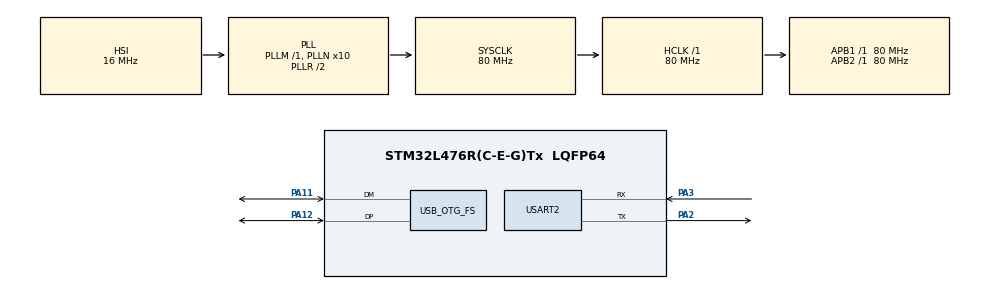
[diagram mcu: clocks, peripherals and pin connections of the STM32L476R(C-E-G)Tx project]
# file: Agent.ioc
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Mcu.Family=STM32L4
Mcu.Name=STM32L476R(C-E-G)Tx
Mcu.Package=LQFP64
NVIC.OTG_FS_IRQn=true\:0\:0\:false\:false\:true\:false
NVIC.PriorityGroup=NVIC_PRIORITYGROUP_4
PA11.Mode=Device_Only
PA11.Signal=USB_OTG_FS_DM
PA12.Mode=Device_Only
PA12.Signal=USB_OTG_FS_DP
PA13\ (JTMS-SWDIO).Mode=Trace_Asynchronous_SW
PA13\ (JTMS-SWDIO).Signal=SYS_JTMS-SWDIO
PA14\ (JTCK-SWCLK).Mode=Trace_Asynchronous_SW
PA14\ (JTCK-SWCLK).Signal=SYS_JTCK-SWCLK
PA2.Mode=Asynchronous
PA2.Signal=USART2_TX
PA3.Mode=Asynchronous
PA3.Signal=USART2_RX
PB3\ (JTDO-TRACESWO).Mode=Trace_Asynchronous_SW
PB3\ (JTDO-TRACESWO).Signal=SYS_JTDO-SWO
PC14-OSC32_IN\ (PC14).Mode=LSE-External-Oscillator
PC14-OSC32_IN\ (PC14).Signal=RCC_OSC32_IN
PC15-OSC32_OUT\ (PC15).Mode=LSE-External-Oscillator
PC15-OSC32_OUT\ (PC15).Signal=RCC_OSC32_OUT
ProjectManager.HeapSize=0x2000
ProjectManager.StackSize=0x2000
ProjectManager.TargetToolchain=TrueSTUDIO
RCC.ADCFreq_Value=64000000
RCC.AHBFreq_Value=80000000
RCC.APB1Freq_Value=80000000
RCC.APB1TimFreq_Value=80000000
RCC.APB2Freq_Value=80000000
RCC.APB2TimFreq_Value=80000000
RCC.CK48CLockSelection=RCC_USBCLKSOURCE_MSI
RCC.CortexFreq_Value=80000000
RCC.HCLKFreq_Value=80000000
RCC.HSE_VALUE=8000000
RCC.HSI_VALUE=16000000
RCC.MSIClockRange=RCC_MSIRANGE_11
RCC.MSI_VALUE=48000000
RCC.PLLN=10
RCC.PLLSourceVirtual=RCC_PLLSOURCE_HSI
RCC.RTCClockSelection=RCC_RTCCLKSOURCE_LSE
RCC.SYSCLKFreq_VALUE=80000000
RCC.SYSCLKSource=RCC_SYSCLKSOURCE_PLLCLK
RCC.USBFreq_Value=48000000
RCC.VCOOutputFreq_Value=160000000
RTC.Format=RTC_FORMAT_BIN
RTC.WeekDay=RTC_WEEKDAY_SATURDAY
USART2.VirtualMode-Asynchronous=VM_ASYNC
USB_DEVICE.CLASS_NAME_FS=CDC
USB_DEVICE.VirtualMode=Cdc
USB_DEVICE.VirtualModeFS=Cdc_FS
USB_OTG_FS.VirtualMode=Device_Only
VP_RNG_VS_RNG.Mode=RNG_Activate
VP_RTC_VS_RTC_Activate.Mode=RTC_Enabled
VP_RTC_VS_RTC_Calendar.Mode=RTC_Calendar
VP_USB_DEVICE_VS_USB_DEVICE_CDC_FS.Mode=CDC_FS
board=custom

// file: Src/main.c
/**
  ******************************************************************************
  * @file           : main.c
  * @brief          : Main program body
  ******************************************************************************
  * This notice applies to any and all portions of this file
  * that are not between comment pairs USER CODE BEGIN and
  * USER CODE END. Other portions of this file, whether
  * inserted by the user or by software development tools
  * are owned by their respective copyright owners.
  *
  * Copyright (c) 2018 STMicroelectronics International N.V.
  * All rights reserved.
  *
  * Redistribution and use in source and binary forms, with or without
  * modification, are permitted, provided that the following conditions are met:
  *
  * 1. Redistribution of source code must retain the above copyright notice,
  *    this list of conditions and the following disclaimer.
  * 2. Redistributions in binary form must reproduce the above copyright notice,
  *    this list of conditions and the following disclaimer in the documentation
  *    and/or other materials provided with the distribution.
  * 3. Neither the name of STMicroelectronics nor the names of other
  *    contributors to this software may be used to endorse or promote products
  *    derived from this software without specific written permission.
  * 4. This software, including modifications and/or derivative works of this
  *    software, must execute solely and exclusively on microcontroller or
  *    microprocessor devices manufactured by or for STMicroelectronics.
  * 5. Redistribution and use of this software other than as permitted under
  *    this license is void and will automatically terminate your rights under
  *    this license.
  *
  * THIS SOFTWARE IS PROVIDED BY STMICROELECTRONICS AND CONTRIBUTORS "AS IS"
  * AND ANY EXPRESS, IMPLIED OR STATUTORY WARRANTIES, INCLUDING, BUT NOT
  * LIMITED TO, THE IMPLIED WARRANTIES OF MERCHANTABILITY, FITNESS FOR A
  * PARTICULAR PURPOSE AND NON-INFRINGEMENT OF THIRD PARTY INTELLECTUAL PROPERTY
  * RIGHTS ARE DISCLAIMED TO THE FULLEST EXTENT PERMITTED BY LAW. IN NO EVENT
  * SHALL STMICROELECTRONICS OR CONTRIBUTORS BE LIABLE FOR ANY DIRECT, INDIRECT,
  * INCIDENTAL, SPECIAL, EXEMPLARY, OR CONSEQUENTIAL DAMAGES (INCLUDING, BUT NOT
  * LIMITED TO, PROCUREMENT OF SUBSTITUTE GOODS OR SERVICES; LOSS OF USE, DATA,
  * OR PROFITS; OR BUSINESS INTERRUPTION) HOWEVER CAUSED AND ON ANY THEORY OF
  * LIABILITY, WHETHER IN CONTRACT, STRICT LIABILITY, OR TORT (INCLUDING
  * NEGLIGENCE OR OTHERWISE) ARISING IN ANY WAY OUT OF THE USE OF THIS SOFTWARE,
  * EVEN IF ADVISED OF THE POSSIBILITY OF SUCH DAMAGE.
  *
  ******************************************************************************
  */
#include "main.h"
#include "stm32l4xx_hal.h"
#include "usb_device.h"

/* USER CODE BEGIN Includes */
#include <time.h>
#include "StmUtil.h"
#include <cyrep/RiotTarget.h>
#include <cyrep/RiotStatus.h>
#include "cyrep/RiotSha256.h"
#include <cyrep/RiotEcc.h>
#include <cyrep/RiotDerEnc.h>
#include <cyrep/RiotX509Bldr.h>
#include <cyrep/RiotCrypt.h>
#include <BarnacleTA.h>

/* USER CODE END Includes */

RNG_HandleTypeDef hrng;

RTC_HandleTypeDef hrtc;

UART_HandleTypeDef huart2;

/* USER CODE BEGIN PV */
/* Private variables ---------------------------------------------------------*/

/* USER CODE END PV */

void SystemClock_Config(void);
static void MX_GPIO_Init(void);
static void MX_RNG_Init(void);
static void MX_RTC_Init(void);
static void MX_USART2_UART_Init(void);

/* USER CODE BEGIN PFP */
/* Private function prototypes -----------------------------------------------*/

/* USER CODE END PFP */

int main(void)
{
  /* USER CODE BEGIN 1 */
  char agentPolicy[] = "This is the agent policy.\r\n";
  char compoundIdStr[27] = {0};

  /* USER CODE END 1 */

  /* MCU Configuration----------------------------------------------------------*/

  /* Reset of all peripherals, Initializes the Flash interface and the Systick. */
  HAL_Init();

  /* Configure the system clock */
  SystemClock_Config();

  /* Initialize all configured peripherals */
  MX_GPIO_Init();
  MX_RNG_Init();
  MX_RTC_Init();
  MX_USART2_UART_Init();
  MX_USB_DEVICE_Init();
  /* USER CODE BEGIN 2 */
  InitializeITM();

  fprintf(stderr, "\r\n\r\n"
                  "================\r\n"
                  " Barnacle Agent\r\n"
                  "================\r\n");

  char* dateStr = asctime(localtime((time_t*)&AgentHdr.s.sign.agent.issued));
  dateStr[24] = '\0';
  printf("%s (%u bytes, V%d.%d, %s)\r\n",
         AgentHdr.s.sign.agent.name,
         (unsigned int)AgentHdr.s.sign.agent.size,
         (short unsigned int)AgentHdr.s.sign.agent.version >> 16,
         (short unsigned int)AgentHdr.s.sign.agent.version % 0x0000ffff,
         dateStr);
  BarnacleTAGetCompoundID((RIOT_ECC_PUBLIC*)&pCertStore->info.devicePubKey, compoundIdStr);
  logInfo("DeviceID          : %s\r\n", compoundIdStr);
  BarnacleTAGetCompoundID((RIOT_ECC_PUBLIC*)&pCompoundId->info.pubKey, compoundIdStr);
  logInfo("CompoundID[Code]  : %s\r\n", compoundIdStr);
//  {
//      uint8_t devicePub[65] = {0};
//      RiotCrypt_ExportEccPub((RIOT_ECC_PUBLIC*)&pCertStore->info.devicePubKey, devicePub, NULL);
//      for(uint32_t n = 0; n < sizeof(devicePub); n++)
//      {
//          if (!((n + 1) % 22) && (n > 0)) dbgPrintAppend("\r\n");
//          dbgPrintAppend("%02x", devicePub[n]);
//      }
//  }
//  dbgPrintAppend("\r\n");

  // Issue policy based end cert
  if(!BarnacleTADerivePolicyIdentity((uint8_t*)agentPolicy, sizeof(agentPolicy)))
  {
      logError("BarnacleDerivePolicyIdentity failed.\r\n");
      Error_Handler();
  }
  BarnacleTAGetCompoundID((RIOT_ECC_PUBLIC*)&pCompoundId->info.pubKey, compoundIdStr);
  logInfo("CompoundID[Policy]: %s\r\n\r\n", compoundIdStr);

  BarnacleTAPrintCertStore();

  /* USER CODE END 2 */

  /* Infinite loop */
  /* USER CODE BEGIN WHILE */
  while (1)
  {
      uint32_t trigger = HAL_RNG_GetRandomNumber(&hrng);

  /* USER CODE END WHILE */

  /* USER CODE BEGIN 3 */
      HAL_Delay(5000);
      printf("Hello World! (0x%08x)\r\n", (unsigned int)trigger);
      if((trigger & 0x0000000f) == 0x0f)
      {
          uint32_t* pAttack = (uint32_t*)0x080fe000;
          printf("Simulating Attack...\r\n");
          logInfo("Agent going down.\r\n");
          HAL_Delay(1);
          trigger = *pAttack;
      }

  }
  /* USER CODE END 3 */

}

void SystemClock_Config(void)
{

  RCC_OscInitTypeDef RCC_OscInitStruct;
  RCC_ClkInitTypeDef RCC_ClkInitStruct;
  RCC_PeriphCLKInitTypeDef PeriphClkInit;

    /**Configure LSE Drive Capability
    */
  HAL_PWR_EnableBkUpAccess();

  __HAL_RCC_LSEDRIVE_CONFIG(RCC_LSEDRIVE_LOW);

    /**Initializes the CPU, AHB and APB busses clocks
    */
  RCC_OscInitStruct.OscillatorType = RCC_OSCILLATORTYPE_HSI|RCC_OSCILLATORTYPE_LSE
                              |RCC_OSCILLATORTYPE_MSI;
  RCC_OscInitStruct.LSEState = RCC_LSE_ON;
  RCC_OscInitStruct.HSIState = RCC_HSI_ON;
  RCC_OscInitStruct.HSICalibrationValue = 16;
  RCC_OscInitStruct.MSIState = RCC_MSI_ON;
  RCC_OscInitStruct.MSICalibrationValue = 0;
  RCC_OscInitStruct.MSIClockRange = RCC_MSIRANGE_11;
  RCC_OscInitStruct.PLL.PLLState = RCC_PLL_ON;
  RCC_OscInitStruct.PLL.PLLSource = RCC_PLLSOURCE_HSI;
  RCC_OscInitStruct.PLL.PLLM = 1;
  RCC_OscInitStruct.PLL.PLLN = 10;
  RCC_OscInitStruct.PLL.PLLP = RCC_PLLP_DIV7;
  RCC_OscInitStruct.PLL.PLLQ = RCC_PLLQ_DIV2;
  RCC_OscInitStruct.PLL.PLLR = RCC_PLLR_DIV2;
  if (HAL_RCC_OscConfig(&RCC_OscInitStruct) != HAL_OK)
  {
    _Error_Handler(__FILE__, __LINE__);
  }

    /**Initializes the CPU, AHB and APB busses clocks
    */
  RCC_ClkInitStruct.ClockType = RCC_CLOCKTYPE_HCLK|RCC_CLOCKTYPE_SYSCLK
                              |RCC_CLOCKTYPE_PCLK1|RCC_CLOCKTYPE_PCLK2;
  RCC_ClkInitStruct.SYSCLKSource = RCC_SYSCLKSOURCE_PLLCLK;
  RCC_ClkInitStruct.AHBCLKDivider = RCC_SYSCLK_DIV1;
  RCC_ClkInitStruct.APB1CLKDivider = RCC_HCLK_DIV1;
  RCC_ClkInitStruct.APB2CLKDivider = RCC_HCLK_DIV1;

  if (HAL_RCC_ClockConfig(&RCC_ClkInitStruct, FLASH_LATENCY_4) != HAL_OK)
  {
    _Error_Handler(__FILE__, __LINE__);
  }

  PeriphClkInit.PeriphClockSelection = RCC_PERIPHCLK_RTC|RCC_PERIPHCLK_USART2
                              |RCC_PERIPHCLK_USB|RCC_PERIPHCLK_RNG;
  PeriphClkInit.Usart2ClockSelection = RCC_USART2CLKSOURCE_PCLK1;
  PeriphClkInit.RTCClockSelection = RCC_RTCCLKSOURCE_LSE;
  PeriphClkInit.UsbClockSelection = RCC_USBCLKSOURCE_MSI;
  PeriphClkInit.RngClockSelection = RCC_RNGCLKSOURCE_MSI;
  if (HAL_RCCEx_PeriphCLKConfig(&PeriphClkInit) != HAL_OK)
  {
    _Error_Handler(__FILE__, __LINE__);
  }

    /**Configure the main internal regulator output voltage
    */
  if (HAL_PWREx_ControlVoltageScaling(PWR_REGULATOR_VOLTAGE_SCALE1) != HAL_OK)
  {
    _Error_Handler(__FILE__, __LINE__);
  }

    /**Configure the Systick interrupt time
    */
  HAL_SYSTICK_Config(HAL_RCC_GetHCLKFreq()/1000);

    /**Configure the Systick
    */
  HAL_SYSTICK_CLKSourceConfig(SYSTICK_CLKSOURCE_HCLK);

    /**Enable MSI Auto calibration
    */
  HAL_RCCEx_EnableMSIPLLMode();

  /* SysTick_IRQn interrupt configuration */
  HAL_NVIC_SetPriority(SysTick_IRQn, 0, 0);
}

/* RNG init function */
static void MX_RNG_Init(void)
{

  hrng.Instance = RNG;
  if (HAL_RNG_Init(&hrng) != HAL_OK)
  {
    _Error_Handler(__FILE__, __LINE__);
  }

}

/* RTC init function */
static void MX_RTC_Init(void)
{

  RTC_TimeTypeDef sTime;
  RTC_DateTypeDef sDate;

    /**Initialize RTC Only
    */
  hrtc.Instance = RTC;
  hrtc.Init.HourFormat = RTC_HOURFORMAT_24;
  hrtc.Init.AsynchPrediv = 127;
  hrtc.Init.SynchPrediv = 255;
  hrtc.Init.OutPut = RTC_OUTPUT_DISABLE;
  hrtc.Init.OutPutRemap = RTC_OUTPUT_REMAP_NONE;
  hrtc.Init.OutPutPolarity = RTC_OUTPUT_POLARITY_HIGH;
  hrtc.Init.OutPutType = RTC_OUTPUT_TYPE_OPENDRAIN;
  if (HAL_RTC_Init(&hrtc) != HAL_OK)
  {
    _Error_Handler(__FILE__, __LINE__);
  }

    /**Initialize RTC and set the Time and Date
    */
  sTime.Hours = 0;
  sTime.Minutes = 0;
  sTime.Seconds = 0;
  sTime.DayLightSaving = RTC_DAYLIGHTSAVING_NONE;
  sTime.StoreOperation = RTC_STOREOPERATION_RESET;
  if (HAL_RTC_SetTime(&hrtc, &sTime, RTC_FORMAT_BIN) != HAL_OK)
  {
    _Error_Handler(__FILE__, __LINE__);
  }

  sDate.WeekDay = RTC_WEEKDAY_SATURDAY;
  sDate.Month = RTC_MONTH_JANUARY;
  sDate.Date = 1;
  sDate.Year = 0;

  if (HAL_RTC_SetDate(&hrtc, &sDate, RTC_FORMAT_BIN) != HAL_OK)
  {
    _Error_Handler(__FILE__, __LINE__);
  }

}

/* USART2 init function */
static void MX_USART2_UART_Init(void)
{

  huart2.Instance = USART2;
  huart2.Init.BaudRate = 115200;
  huart2.Init.WordLength = UART_WORDLENGTH_8B;
  huart2.Init.StopBits = UART_STOPBITS_1;
  huart2.Init.Parity = UART_PARITY_NONE;
  huart2.Init.Mode = UART_MODE_TX_RX;
  huart2.Init.HwFlowCtl = UART_HWCONTROL_NONE;
  huart2.Init.OverSampling = UART_OVERSAMPLING_16;
  huart2.Init.OneBitSampling = UART_ONE_BIT_SAMPLE_DISABLE;
  huart2.AdvancedInit.AdvFeatureInit = UART_ADVFEATURE_NO_INIT;
  if (HAL_UART_Init(&huart2) != HAL_OK)
  {
    _Error_Handler(__FILE__, __LINE__);
  }

}

/** Configure pins as
        * Analog
        * Input
        * Output
        * EVENT_OUT
        * EXTI
*/
static void MX_GPIO_Init(void)
{

  /* GPIO Ports Clock Enable */
  __HAL_RCC_GPIOC_CLK_ENABLE();
  __HAL_RCC_GPIOA_CLK_ENABLE();
  __HAL_RCC_GPIOB_CLK_ENABLE();

}

void _Error_Handler(char *file, int line)
{
  /* USER CODE BEGIN Error_Handler_Debug */
    dbgPrint("PANIC: EXECUTION HALTED %s@%d\r\n", file, line);
  /* User can add his own implementation to report the HAL error return state */
  while(1)
  {
  }
  /* USER CODE END Error_Handler_Debug */
}

/************************ (C) COPYRIGHT STMicroelectronics *****END OF FILE****/
